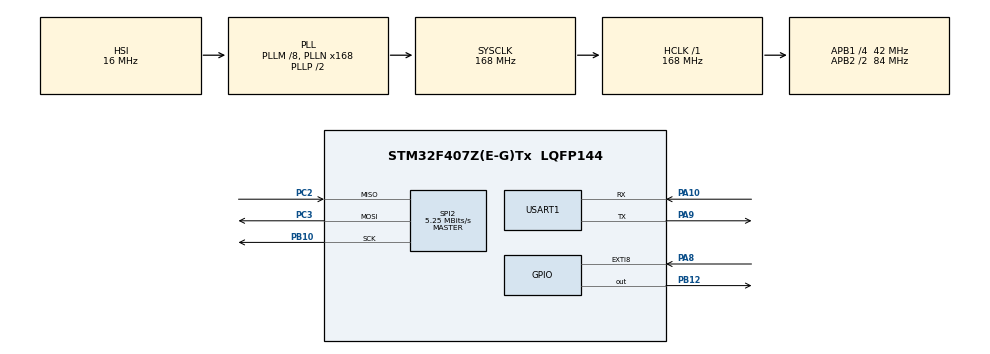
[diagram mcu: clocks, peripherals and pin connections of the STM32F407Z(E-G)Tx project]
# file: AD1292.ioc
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Dma.Request0=USART1_TX
Dma.USART1_TX.0.Direction=DMA_MEMORY_TO_PERIPH
Dma.USART1_TX.0.FIFOMode=DMA_FIFOMODE_DISABLE
Dma.USART1_TX.0.Instance=DMA2_Stream7
Dma.USART1_TX.0.MemDataAlignment=DMA_MDATAALIGN_BYTE
Dma.USART1_TX.0.MemInc=DMA_MINC_ENABLE
Dma.USART1_TX.0.Mode=DMA_NORMAL
Dma.USART1_TX.0.PeriphDataAlignment=DMA_PDATAALIGN_BYTE
Dma.USART1_TX.0.PeriphInc=DMA_PINC_DISABLE
Dma.USART1_TX.0.Priority=DMA_PRIORITY_MEDIUM
Mcu.Family=STM32F4
Mcu.Name=STM32F407Z(E-G)Tx
Mcu.Package=LQFP144
NVIC.DMA2_Stream7_IRQn=true\:0\:0\:false\:false\:true\:false\:true
NVIC.EXTI9_5_IRQn=true\:0\:0\:false\:false\:true\:true\:true
NVIC.PriorityGroup=NVIC_PRIORITYGROUP_4
NVIC.TIM3_IRQn=true\:0\:0\:false\:false\:true\:true\:true
NVIC.USART1_IRQn=true\:0\:0\:false\:false\:true\:true\:true
PA10.Mode=Asynchronous
PA10.Signal=USART1_RX
PA8.GPIO_ModeDefaultEXTI=GPIO_MODE_IT_FALLING
PA8.GPIO_PuPd=GPIO_PULLDOWN
PA8.Signal=GPXTI8
PA9.Mode=Asynchronous
PA9.Signal=USART1_TX
PB10.Mode=Full_Duplex_Master
PB10.Signal=SPI2_SCK
PB12.GPIO_Speed=GPIO_SPEED_FREQ_HIGH
PB12.Signal=GPIO_Output
PC2.Mode=Full_Duplex_Master
PC2.Signal=SPI2_MISO
PC3.Mode=Full_Duplex_Master
PC3.Signal=SPI2_MOSI
PH0-OSC_IN.Mode=HSE-External-Oscillator
PH0-OSC_IN.Signal=RCC_OSC_IN
PH1-OSC_OUT.Mode=HSE-External-Oscillator
PH1-OSC_OUT.Signal=RCC_OSC_OUT
ProjectManager.HeapSize=0x200
ProjectManager.StackSize=0x400
ProjectManager.TargetToolchain=MDK-ARM V5.27
RCC.48MHZClocksFreq_Value=84000000
RCC.AHBFreq_Value=168000000
RCC.APB1CLKDivider=RCC_HCLK_DIV4
RCC.APB1Freq_Value=42000000
RCC.APB1TimFreq_Value=84000000
RCC.APB2CLKDivider=RCC_HCLK_DIV2
RCC.APB2Freq_Value=84000000
RCC.APB2TimFreq_Value=168000000
RCC.CortexFreq_Value=168000000
RCC.HCLKFreq_Value=168000000
RCC.HSE_VALUE=8000000
RCC.HSI_VALUE=16000000
RCC.LSE_VALUE=32768
RCC.PLLM=8
RCC.PLLN=168
RCC.SYSCLKFreq_VALUE=168000000
RCC.SYSCLKSource=RCC_SYSCLKSOURCE_PLLCLK
RCC.VCOOutputFreq_Value=336000000
SPI2.BaudRatePrescaler=SPI_BAUDRATEPRESCALER_8
SPI2.CLKPhase=SPI_PHASE_2EDGE
SPI2.CLKPolarity=SPI_POLARITY_LOW
SPI2.CalculateBaudRate=5.25 MBits/s
SPI2.Direction=SPI_DIRECTION_2LINES
SPI2.Mode=SPI_MODE_MASTER
SPI2.VirtualType=VM_MASTER
TIM3.AutoReloadPreload=TIM_AUTORELOAD_PRELOAD_ENABLE
TIM3.Period=9999
TIM3.Prescaler=8399
USART1.VirtualMode=VM_ASYNC
VP_TIM3_VS_ClockSourceINT.Mode=Internal
board=custom

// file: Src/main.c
/* USER CODE BEGIN Header */
/**
  ******************************************************************************
  * @file           : main.c
  * @brief          : Main program body
  ******************************************************************************
  * @attention
  *
  * <h2><center>&copy; Copyright (c) 2020 STMicroelectronics.
  * All rights reserved.</center></h2>
  *
  * This software component is licensed by ST under BSD 3-Clause license,
  * the "License"; You may not use this file except in compliance with the
  * License. You may obtain a copy of the License at:
  *                        opensource.org/licenses/BSD-3-Clause
  *
  ******************************************************************************
  */
/* USER CODE END Header */

#include "main.h"
#include "dma.h"
#include "spi.h"
#include "tim.h"
#include "usart.h"
#include "gpio.h"
#include "AD1292.h"
#include "sys.h"
#include <stdio.h>
#include "USART_HMI.h"
#include "findpeaks.h"
#include "FIR_48.h"
#include "delay.h"
#include "medfilt1.h"
#include "bpm.h"

extern UART_HandleTypeDef huart1;   //声明串口

/* USER CODE BEGIN PV */

static int mid_filt_start_flag;
static long FPS_NUM;

s32 get_volt(u32 num);                 //把采到的3个字节补码转成有符号32位数
float32_t val1,val2;
//u32 val1_last;
float32_t calculate_cache[36];             //计算部分缓存
float32_t calculate_cache1[18];            //计算部分缓存
float32_t fir_put[36];                     //滤波输出数据
float32_t fir_put1[36];                     //滤波输出数据
float32_t breath_cache[36];                //呼吸滤波缓存
int32_t breath_calculate_cache[250];    //呼吸计算缓存
int32_t val1_int;                          //心率数据int32格式
int32_t bpm_cache[1000];                   //计算心率的数据缓存
float32_t mid_filt_cache[midfilt_num];             //中值滤波缓存
float32_t mid_filt_cache1[midfilt_num];             //中值滤波缓存

int32_t pn_npks;                           //心率峰值检测函数峰值数量
int32_t pn_locs[15];                       //心率峰值检测函数输出峰值点
int32_t pn_npks_b;                         //呼吸峰值检测函数峰值数量
int32_t pn_locs_b[15];                     //呼吸峰值检测函数输出峰值点

float32_t a1,a2;                           //心率显示系数
float32_t b1,b2;                           //呼吸显示系数
float32_t mean;                            //均值滤波输出值
float32_t val_init_data[Val_Init_Num];     //心率初始化数组
float32_t breath_init_cache[Val_Init_Num]; //呼吸初始化数组
float32_t mid_val;

static float bpm;                          //心率数值
static float hr;                           //呼吸数值

float32_t min;
uint32_t min_index;

/* USER CODE END PV */

void SystemClock_Config(void);

int main(void)
{
  /* USER CODE BEGIN 1 */
  static uint16_t j,n,num,x,mid_filt_num;
  uint8_t res,i,sum;
	//uint8_t data_to_send[60];//串口发送缓存
	uint8_t usbstatus=0;
	u32 cannle[2];	//存储两个通道的数据
	s32	p_Temp[2];	//数据缓存

	//data_to_send[0]=0xAA;
	//data_to_send[1]=0xAA;
	//data_to_send[2]=0xF1;
	//data_to_send[3]=8;

	int k,z,p;
	static int last_val;
  /* USER CODE END 1 */

  /* MCU Configuration--------------------------------------------------------*/

  /* Reset of all peripherals, Initializes the Flash interface and the Systick. */
  HAL_Init();

  /* Configure the system clock */
  SystemClock_Config();

  /* Initialize all configured peripherals */
  MX_GPIO_Init();
  MX_DMA_Init();
  MX_SPI2_Init();
  MX_TIM3_Init();
  MX_USART1_UART_Init();
  /* USER CODE BEGIN 2 */
  ADS1292_Init();
	HAL_Delay(10);
	while(Set_ADS1292_Collect(0))//0 正常采集  //1 1mV1Hz内部侧试信号 //2 内部短接噪声测试
		{
				printf("1292寄存器设置失败\r\n");
		}
		printf("寄存器设置成功\r\n");

	HAL_NVIC_EnableIRQ(EXTI9_5_IRQn);                       //开启外部中断

	HAL_TIM_Base_Start_IT(&htim3);                        //开启定时器3中断
	Get_val_init_data(val_init_data,breath_init_cache);

	arm_min_f32(breath_init_cache,Val_Init_Num,&min,&min_index);

	for(p=0;p<Val_Init_Num;p++)
		{
			breath_init_cache[p] = breath_init_cache[p] - 0.95*min;
		}

  ADS1292_val_init(val_init_data,&a1,&b1);
	//ADS1292_val_init(breath_init_cache,&a2,&b2);
  /* USER CODE END 2 */
	//arm_fir5_init();
	arm_fir48_init();
  /* Infinite loop */
  while (1)
  {
		if(ads1292_recive_flag)
				{

							//FPS = 1000.0/FPS_NUM;
												//FPS_NUM = 0;

							cannle[0]=ads1292_Cache[3]<<16 | ads1292_Cache[4]<<8 | ads1292_Cache[5];//获取原始数据
							cannle[1]=ads1292_Cache[6]<<16 | ads1292_Cache[7]<<8 | ads1292_Cache[8];

							p_Temp[0] = get_volt(cannle[0]);	//把采到的3个字节转成有符号32位数
							p_Temp[1] = get_volt(cannle[1]);	//把采到的3个字节转成有符号32位数

							//有符号数为再转为无符号，无符号数为逻辑右移
							cannle[0] = p_Temp[0];
							cannle[1]	= p_Temp[1];
              /*
							data_to_send[4]=cannle[0]>>24;		//25-32位
							data_to_send[5]=cannle[0]>>16;  	//17-24
							data_to_send[6]=cannle[0]>>8;		//9-16
							data_to_send[7]=cannle[0]; 			//1-8

							data_to_send[8]=cannle[1]>>24;		//25-32位
							data_to_send[9]=cannle[1]>>16;  	//17-24
							data_to_send[10]=cannle[1]>>8;		//9-16
							data_to_send[11]=cannle[1];			 //1-8

							for(i=0;i<12;i++)
									sum += data_to_send[i];
							data_to_send[12] = sum;	//校验和

							HAL_UART_Transmit_DMA(&huart1,data_to_send,13);
							*/

							val1 = cannle[1]*(a1)+b1;                                //将数据改为能在串口屏显示的数值

							//val2 = (cannle[0]-0.95*min)*(a2)+b2;

              calculate_cache[j] = val1;                                //将数据存入滤波计算缓存数组中

							//breath_cache[z] = val2;

							//val1_int = (int32_t)val1;                                 //数据转换为int32格式

							//bpm_cache[n] = val1_int;                                  //将数据存入心率计算数组中

              j++;

							//n++;

							z++;
							/*
							if(z == 5)
							{
								arm_mean_f32(breath_cache,5,&mean);                    //均值滤波 20值为一次
								breath_calculate_cache[x] = (int)mean;
								x++;
								printf("add 3,0,%0.f",mean);
								send_ending_flag();
								if(x == 125)
								{
									x = 0;
									maxim_peaks_above_min_height(pn_locs_b,&pn_npks_b,breath_calculate_cache,125,185);               //寻找185以上的峰
									hr = 60.0/(pn_locs_b[pn_npks_b-1]-pn_locs_b[pn_npks_b-2])*459.0/36;                              //计算呼吸 算法:两峰之间点数*采样率
									printf("n1.val=%d",(int)hr);
									send_ending_flag();

								}
								z = 0;
							}
							*/
              if(j == 19)
              {

                j=18;

								//arm_fir_f32_lp_5(breath_cache,fir_put1);
								//arm_mean_f32(breath_cache);
								//printf("add 3,0,%0.f",val2);
								//send_ending_flag();
								arm_fir_f32_lp_48(calculate_cache,fir_put);              //对数据进行FIR 48Hz低通滤波
								//draw_curve(last_val,600-fir_put[0],"GREEN");
									if(mid_filt_start_flag == 0)
									{
										mid_filt_cache[mid_filt_num] = fir_put[0];
										mid_filt_num++;
										if(mid_filt_num == midfilt_num)
										{
											mid_filt_start_flag = 1;
										}
									}
									else if(mid_filt_start_flag == 1)
									{
										arm_copy_f32(mid_filt_cache+1,mid_filt_cache1,midfilt_num-1);
										mid_filt_cache1[midfilt_num-1] = fir_put[0];
										mid_val=midfilt1(mid_filt_cache1,midfilt_num,midfilt_num);

										bpm_cache[n] = (fir_put[0]-mid_val+100);
										n++;
										if(n>1000)
										{
											n=0;
											maxim_peaks_above_min_height(pn_locs,&pn_npks,bpm_cache,1000,145);                   //寻找175以上的峰
											bpm = bpm_calculate(pn_locs,pn_npks);
											//bpm = 60.0/(pn_locs[pn_npks-1]-pn_locs[pn_npks-2])*204;                              //计算心率 算法:两峰之间点数*采样率
											printf("n0.val=%d",(int)bpm);                                                        //输出心率数据
											send_ending_flag();

										}
										printf("add 2,0,%0.f",fir_put[0]-mid_val+100);
										send_ending_flag();
										arm_copy_f32(mid_filt_cache1,mid_filt_cache,midfilt_num);
									}

									//printf("add 2,0,%0.f",fir_put[2*k]);                     //向串口屏输出数据
									//send_ending_flag();
									/*
									num++;
									if(num==1024)
									{
										printf("cle 1,0");
										send_ending_flag();
										num=0;
									}
									*/
									/*
									draw_curve(600-fir_put[k],600-fir_put[k+1],"GREEN");
									if(k==3)
									{
										last_val = (600-fir_put[k+1]);
									}
									*/

								arm_copy_f32(calculate_cache+1,calculate_cache1,18);     //将前一数组的后18位拷贝到缓存数组中，作为FIR滤波器的群延时

								arm_copy_f32(calculate_cache1,calculate_cache,18);       //将缓存数组的18位拷贝到后一数组中

								/*
								for(k=0;k<18;k++)
								{
									calculate_cache[k] = calculate_cache[k+7];
								}
								*/
                /*
                maxim_peaks_above_min_height(pn_locs,&pn_npks,calculate_cache,1200,200);

                //findPeaks(calculate_cache,2000,0,indMax,&peakFs_len,indMin,&peakFs2_len);
                bpm = 60.0/(pn_locs[pn_npks/2]-pn_locs[pn_npks/2-1])*500;
                printf("n0.val=%d",(int)bpm);
                send_ending_flag();
                */
              }
							/*
							if(n>1200)
							{
								n=0;
								maxim_peaks_above_min_height(pn_locs,&pn_npks,bpm_cache,1200,165);                   //寻找175以上的峰
								bpm = 60.0/(pn_locs[pn_npks-1]-pn_locs[pn_npks-2])*459;                              //计算心率 算法:两峰之间点数*采样率
								printf("n0.val=%d",(int)bpm);                                                        //输出心率数据
								send_ending_flag();

							}
							*/
							ads1292_recive_flag=0;
							sum = 0;

							//HAL_Delay(10);
				}
  }
}

void SystemClock_Config(void)
{
  RCC_OscInitTypeDef RCC_OscInitStruct = {0};
  RCC_ClkInitTypeDef RCC_ClkInitStruct = {0};

  /** Configure the main internal regulator output voltage
  */
  __HAL_RCC_PWR_CLK_ENABLE();
  __HAL_PWR_VOLTAGESCALING_CONFIG(PWR_REGULATOR_VOLTAGE_SCALE1);
  /** Initializes the CPU, AHB and APB busses clocks
  */
  RCC_OscInitStruct.OscillatorType = RCC_OSCILLATORTYPE_HSI;
  RCC_OscInitStruct.HSIState = RCC_HSI_ON;
  RCC_OscInitStruct.HSICalibrationValue = RCC_HSICALIBRATION_DEFAULT;
  RCC_OscInitStruct.PLL.PLLState = RCC_PLL_ON;
  RCC_OscInitStruct.PLL.PLLSource = RCC_PLLSOURCE_HSI;
  RCC_OscInitStruct.PLL.PLLM = 8;
  RCC_OscInitStruct.PLL.PLLN = 168;
  RCC_OscInitStruct.PLL.PLLP = RCC_PLLP_DIV2;
  RCC_OscInitStruct.PLL.PLLQ = 4;
  if (HAL_RCC_OscConfig(&RCC_OscInitStruct) != HAL_OK)
  {
    Error_Handler();
  }
  /** Initializes the CPU, AHB and APB busses clocks
  */
  RCC_ClkInitStruct.ClockType = RCC_CLOCKTYPE_HCLK|RCC_CLOCKTYPE_SYSCLK
                              |RCC_CLOCKTYPE_PCLK1|RCC_CLOCKTYPE_PCLK2;
  RCC_ClkInitStruct.SYSCLKSource = RCC_SYSCLKSOURCE_PLLCLK;
  RCC_ClkInitStruct.AHBCLKDivider = RCC_SYSCLK_DIV1;
  RCC_ClkInitStruct.APB1CLKDivider = RCC_HCLK_DIV4;
  RCC_ClkInitStruct.APB2CLKDivider = RCC_HCLK_DIV2;

  if (HAL_RCC_ClockConfig(&RCC_ClkInitStruct, FLASH_LATENCY_5) != HAL_OK)
  {
    Error_Handler();
  }
}

/* USER CODE BEGIN 4 */
void HAL_GPIO_EXTI_Callback(uint16_t GPIO_Pin)
{
  if((GPIO_Pin == GPIO_PIN_8) && (ADS_DRDY == 0))
  {
    PA8_IRQHandler();
  }

}

void HAL_TIM_PeriodElapsedCallback(TIM_HandleTypeDef *htim)
{
  if (htim == (&htim3))
  {}

}

/* USER CODE END 4 */

void Error_Handler(void)
{
}

/************************ (C) COPYRIGHT STMicroelectronics *****END OF FILE****/
